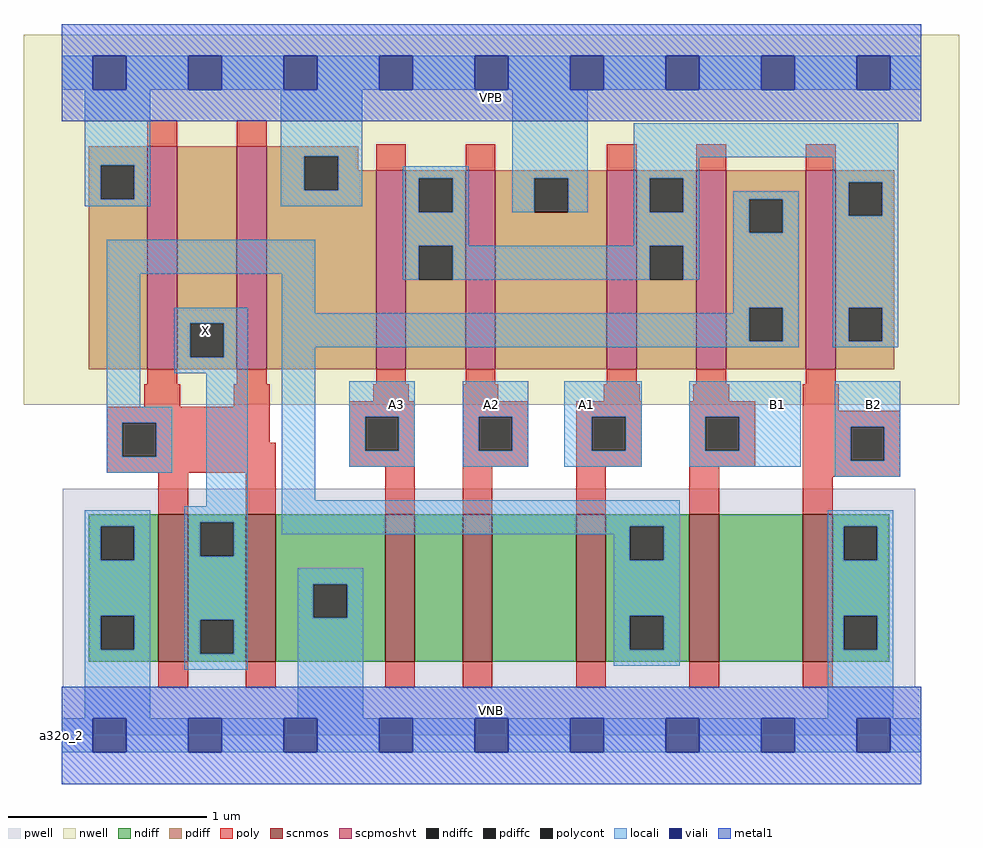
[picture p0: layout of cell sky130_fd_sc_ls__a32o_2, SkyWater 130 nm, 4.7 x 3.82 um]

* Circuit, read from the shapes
.subckt sky130_fd_sc_ls__a32o_2 A1 A2 A3 B1 B2 VGND VNB VPB VPWR X
XM1 X n1 VGND VNB sky130_fd_pr__nfet_01v8 w=0.74 l=0.15 m=2
XM2 n2 A3 VGND VNB sky130_fd_pr__nfet_01v8 w=0.74 l=0.15
XM3 n3 A2 n2 VNB sky130_fd_pr__nfet_01v8 w=0.74 l=0.15
XM4 n1 A1 n3 VNB sky130_fd_pr__nfet_01v8 w=0.74 l=0.15
XM5 n4 B1 n1 VNB sky130_fd_pr__nfet_01v8 w=0.74 l=0.15
XM6 VGND B2 n4 VNB sky130_fd_pr__nfet_01v8 w=0.74 l=0.15
XM7 X n1 VPWR VPB sky130_fd_pr__pfet_01v8_hvt w=1.12 l=0.15 m=2
XM8 n5 A3 VPWR VPB sky130_fd_pr__pfet_01v8_hvt w=1 l=0.15
XM9 VPWR A2 n5 VPB sky130_fd_pr__pfet_01v8_hvt w=1 l=0.15
XM10 n5 A1 VPWR VPB sky130_fd_pr__pfet_01v8_hvt w=1 l=0.15
XM11 n1 B1 n5 VPB sky130_fd_pr__pfet_01v8_hvt w=1 l=0.15
XM12 n5 B2 n1 VPB sky130_fd_pr__pfet_01v8_hvt w=1 l=0.15
.ends

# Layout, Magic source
magic
tech sky130A
magscale 1 2
<< nwell >>
rect -38 332 902 704
<< pwell >>
rect 1 49 858 248
rect 0 0 864 49
<< scnmos >>
rect 97 74 127 222
rect 185 74 215 222
rect 325 74 355 222
rect 403 74 433 222
rect 517 74 547 222
rect 631 74 661 222
rect 745 74 775 222
<< scpmoshvt >>
rect 86 368 116 592
rect 176 368 206 592
rect 316 368 346 568
rect 406 368 436 568
rect 548 368 578 568
rect 638 368 668 568
rect 748 368 778 568
<< ndiff >>
rect 27 210 97 222
rect 27 176 39 210
rect 73 176 97 210
rect 27 120 97 176
rect 27 86 39 120
rect 73 86 97 120
rect 27 74 97 86
rect 127 214 185 222
rect 127 180 139 214
rect 173 180 185 214
rect 127 116 185 180
rect 127 82 139 116
rect 173 82 185 116
rect 127 74 185 82
rect 215 152 325 222
rect 215 118 253 152
rect 287 118 325 152
rect 215 74 325 118
rect 355 74 403 222
rect 433 74 517 222
rect 547 210 631 222
rect 547 176 571 210
rect 605 176 631 210
rect 547 120 631 176
rect 547 86 571 120
rect 605 86 631 120
rect 547 74 631 86
rect 661 74 745 222
rect 775 210 832 222
rect 775 176 786 210
rect 820 176 832 210
rect 775 120 832 176
rect 775 86 786 120
rect 820 86 832 120
rect 775 74 832 86
<< pdiff >>
rect 27 573 86 592
rect 27 539 39 573
rect 73 539 86 573
rect 27 368 86 539
rect 116 414 176 592
rect 116 380 129 414
rect 163 380 176 414
rect 116 368 176 380
rect 206 582 298 592
rect 206 548 244 582
rect 278 568 298 582
rect 278 548 316 568
rect 206 368 316 548
rect 346 560 406 568
rect 346 526 359 560
rect 393 526 406 560
rect 346 492 406 526
rect 346 458 359 492
rect 393 458 406 492
rect 346 368 406 458
rect 436 560 548 568
rect 436 526 475 560
rect 509 526 548 560
rect 436 368 548 526
rect 578 560 638 568
rect 578 526 591 560
rect 625 526 638 560
rect 578 492 638 526
rect 578 458 591 492
rect 625 458 638 492
rect 578 368 638 458
rect 668 539 748 568
rect 668 505 691 539
rect 725 505 748 539
rect 668 430 748 505
rect 668 396 691 430
rect 725 396 748 430
rect 668 368 748 396
rect 778 556 837 568
rect 778 522 791 556
rect 825 522 837 556
rect 778 430 837 522
rect 778 396 791 430
rect 825 396 837 430
rect 778 368 837 396
<< ndiffc >>
rect 39 176 73 210
rect 39 86 73 120
rect 139 180 173 214
rect 139 82 173 116
rect 253 118 287 152
rect 571 176 605 210
rect 571 86 605 120
rect 786 176 820 210
rect 786 86 820 120
<< pdiffc >>
rect 39 539 73 573
rect 129 380 163 414
rect 244 548 278 582
rect 359 526 393 560
rect 359 458 393 492
rect 475 526 509 560
rect 591 526 625 560
rect 591 458 625 492
rect 691 505 725 539
rect 691 396 725 430
rect 791 522 825 556
rect 791 396 825 430
<< poly >>
rect 86 592 116 618
rect 176 592 206 618
rect 316 568 346 594
rect 406 568 436 594
rect 548 568 578 594
rect 638 568 668 594
rect 748 568 778 594
rect 86 353 116 368
rect 176 353 206 368
rect 316 353 346 368
rect 406 353 436 368
rect 548 353 578 368
rect 638 353 668 368
rect 748 353 778 368
rect 83 330 119 353
rect 173 330 209 353
rect 313 336 349 353
rect 403 336 439 353
rect 545 336 581 353
rect 635 336 671 353
rect 45 314 209 330
rect 45 280 61 314
rect 95 294 209 314
rect 289 320 355 336
rect 95 280 215 294
rect 45 264 215 280
rect 289 286 305 320
rect 339 286 355 320
rect 289 270 355 286
rect 97 222 127 264
rect 185 222 215 264
rect 325 222 355 270
rect 403 320 469 336
rect 403 286 419 320
rect 453 286 469 320
rect 403 270 469 286
rect 517 320 583 336
rect 517 286 533 320
rect 567 286 583 320
rect 517 270 583 286
rect 631 320 697 336
rect 631 286 647 320
rect 681 286 697 320
rect 631 270 697 286
rect 745 326 781 353
rect 745 310 843 326
rect 745 276 793 310
rect 827 276 843 310
rect 403 222 433 270
rect 517 222 547 270
rect 631 222 661 270
rect 745 260 843 276
rect 745 222 775 260
rect 97 48 127 74
rect 185 48 215 74
rect 325 48 355 74
rect 403 48 433 74
rect 517 48 547 74
rect 631 48 661 74
rect 745 48 775 74
<< polycont >>
rect 61 280 95 314
rect 305 286 339 320
rect 419 286 453 320
rect 533 286 567 320
rect 647 286 681 320
rect 793 276 827 310
<< locali >>
rect 0 649 31 683
rect 65 649 127 683
rect 161 649 223 683
rect 257 649 319 683
rect 353 649 415 683
rect 449 649 511 683
rect 545 649 607 683
rect 641 649 703 683
rect 737 649 799 683
rect 833 649 864 683
rect 23 573 89 649
rect 23 539 39 573
rect 73 539 89 573
rect 23 532 89 539
rect 220 582 302 649
rect 220 548 244 582
rect 278 548 302 582
rect 220 532 302 548
rect 343 560 409 572
rect 343 526 359 560
rect 393 526 409 560
rect 453 560 529 649
rect 453 526 475 560
rect 509 526 529 560
rect 575 581 841 615
rect 575 560 641 581
rect 575 526 591 560
rect 625 526 641 560
rect 775 556 841 581
rect 45 464 255 498
rect 45 330 79 464
rect 113 414 187 430
rect 113 380 129 414
rect 163 380 187 414
rect 113 364 187 380
rect 45 314 111 330
rect 45 280 61 314
rect 95 280 111 314
rect 45 264 111 280
rect 145 230 187 364
rect 23 210 89 226
rect 23 176 39 210
rect 73 176 89 210
rect 23 120 89 176
rect 23 86 39 120
rect 73 86 89 120
rect 23 17 89 86
rect 123 214 187 230
rect 123 180 139 214
rect 173 180 187 214
rect 221 424 255 464
rect 343 492 409 526
rect 575 492 641 526
rect 343 458 359 492
rect 393 458 591 492
rect 625 458 641 492
rect 675 539 741 547
rect 675 505 691 539
rect 725 505 741 539
rect 675 430 741 505
rect 675 424 691 430
rect 221 396 691 424
rect 725 396 741 430
rect 221 390 741 396
rect 775 522 791 556
rect 825 522 841 556
rect 775 430 841 522
rect 775 396 791 430
rect 825 396 841 430
rect 775 390 841 396
rect 221 236 255 390
rect 289 320 355 356
rect 289 286 305 320
rect 339 286 355 320
rect 289 270 355 286
rect 403 320 469 356
rect 403 286 419 320
rect 453 286 469 320
rect 403 270 469 286
rect 505 320 583 356
rect 505 286 533 320
rect 567 286 583 320
rect 505 270 583 286
rect 631 320 743 356
rect 631 286 647 320
rect 681 286 743 320
rect 631 270 743 286
rect 777 310 843 356
rect 777 276 793 310
rect 827 276 843 310
rect 777 260 843 276
rect 221 210 621 236
rect 221 202 571 210
rect 123 116 187 180
rect 555 176 571 202
rect 605 176 621 210
rect 123 82 139 116
rect 173 82 187 116
rect 123 66 187 82
rect 237 152 303 168
rect 237 118 253 152
rect 287 118 303 152
rect 237 17 303 118
rect 555 120 621 176
rect 555 86 571 120
rect 605 86 621 120
rect 555 70 621 86
rect 770 210 836 226
rect 770 176 786 210
rect 820 176 836 210
rect 770 120 836 176
rect 770 86 786 120
rect 820 86 836 120
rect 770 17 836 86
rect 0 -17 31 17
rect 65 -17 127 17
rect 161 -17 223 17
rect 257 -17 319 17
rect 353 -17 415 17
rect 449 -17 511 17
rect 545 -17 607 17
rect 641 -17 703 17
rect 737 -17 799 17
rect 833 -17 864 17
<< viali >>
rect 31 649 65 683
rect 127 649 161 683
rect 223 649 257 683
rect 319 649 353 683
rect 415 649 449 683
rect 511 649 545 683
rect 607 649 641 683
rect 703 649 737 683
rect 799 649 833 683
rect 31 -17 65 17
rect 127 -17 161 17
rect 223 -17 257 17
rect 319 -17 353 17
rect 415 -17 449 17
rect 511 -17 545 17
rect 607 -17 641 17
rect 703 -17 737 17
rect 799 -17 833 17
<< metal1 >>
rect 0 683 864 715
rect 0 649 31 683
rect 65 649 127 683
rect 161 649 223 683
rect 257 649 319 683
rect 353 649 415 683
rect 449 649 511 683
rect 545 649 607 683
rect 641 649 703 683
rect 737 649 799 683
rect 833 649 864 683
rect 0 617 864 649
rect 0 17 864 49
rect 0 -17 31 17
rect 65 -17 127 17
rect 161 -17 223 17
rect 257 -17 319 17
rect 353 -17 415 17
rect 449 -17 511 17
rect 545 -17 607 17
rect 641 -17 703 17
rect 737 -17 799 17
rect 833 -17 864 17
rect 0 -49 864 -17
<< labels >>
rlabel comment s 0 0 0 0 4 a32o_2
flabel pwell s 0 0 864 49 0 FreeSans 200 0 0 0 VNB
port 7 nsew ground bidirectional
flabel nwell s 0 617 864 666 0 FreeSans 200 0 0 0 VPB
port 8 nsew power bidirectional
flabel metal1 s 0 617 864 666 0 FreeSans 340 0 0 0 VPWR
port 9 nsew power bidirectional abutment
flabel metal1 s 0 0 864 49 0 FreeSans 340 0 0 0 VGND
port 6 nsew ground bidirectional abutment
flabel locali s 799 316 833 350 0 FreeSans 340 0 0 0 B2
port 5 nsew signal input
flabel locali s 703 316 737 350 0 FreeSans 340 0 0 0 B1
port 4 nsew signal input
flabel locali s 319 316 353 350 0 FreeSans 340 0 0 0 A3
port 3 nsew signal input
flabel locali s 415 316 449 350 0 FreeSans 340 0 0 0 A2
port 2 nsew signal input
flabel locali s 511 316 545 350 0 FreeSans 340 0 0 0 A1
port 1 nsew signal input
flabel locali s 127 390 161 424 0 FreeSans 340 0 0 0 X
port 10 nsew signal output
<< properties >>
string LEFsite unit
string LEFclass CORE
string FIXED_BBOX 0 0 864 666
string GDS_FILE $PDKPATH/libs.ref/sky130_fd_sc_ls/gds/sky130_fd_sc_ls.gds
string LEFsymmetry X Y
string GDS_END 1344952
string GDS_START 1337976
<< end >>
